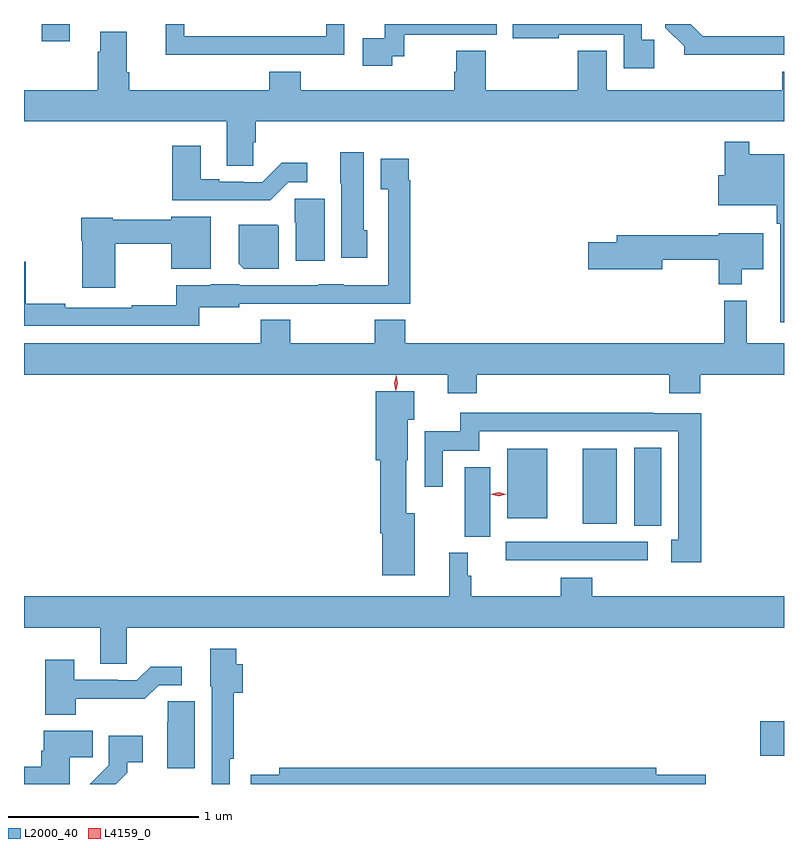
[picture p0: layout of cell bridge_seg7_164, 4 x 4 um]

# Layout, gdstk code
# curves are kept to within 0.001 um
import gdstk
lib = gdstk.Library(unit=1e-6, precision=1e-09)
def R(c, l, rs):  # rectangles x0, y0, x1, y1
    for r in rs: c.add(gdstk.rectangle(r[:2], r[2:], *l))
def P(c, l, *ps):  # polygons
    for p in ps: c.add(gdstk.Polygon(p, *l))
L2000_40 = (2000, 40)
L4159_0 = (4159, 0)

bridge_seg7_164 = lib.new_cell('bridge_seg7_164')
R(bridge_seg7_164, L2000_40, [(402.672,1049.225,402.796,1049.408), (401.331,1050.255,402.079,1050.351), (401.117,1050.379,401.251,1050.745), (402.008,1050.436,402.151,1050.848), (401.738,1050.446,401.917,1050.841), (401.339,1050.476,401.551,1050.841), (398.889,1052.985,399.037,1053.077)])
P(bridge_seg7_164, L2000_40, [(402.704,1052.916),(402.796,1052.916),(402.796,1053.012),(402.369,1053.012),(402.304,1053.077),(402.171,1053.077),(402.171,1053.058),(402.27,1052.959),(402.27,1052.915),(402.704,1052.915)],
  [(400.004,1052.916),(400.482,1052.916),(400.482,1053.077),(400.386,1053.077),(400.386,1053.012),(399.639,1053.012),(399.639,1053.077),(399.542,1053.077),(399.542,1052.915),(400.004,1052.915)],
  [(400.734,1052.907),(400.796,1052.907),(400.796,1053.021),(401.283,1053.021),(401.283,1053.077),(400.695,1053.077),(400.695,1053.003),(400.578,1053.003),(400.578,1052.856),(400.734,1052.856)],
  [(402.113,1052.995),(402.048,1052.995),(402.048,1053.077),(401.368,1053.077),(401.368,1053.002),(401.611,1053.002),(401.611,1053.021),(401.952,1053.021),(401.952,1052.844),(402.113,1052.844)],
  [(400.002,1052.454),(400.016,1052.454),(400.016,1052.564),(402.796,1052.564),(402.796,1052.827),(402.788,1052.827),(402.788,1052.728),(401.863,1052.728),(401.863,1052.936),(401.711,1052.936),(401.711,1052.728),(401.225,1052.728),(401.225,1052.936),(401.072,1052.936),(401.072,1052.826),(401.06,1052.826),(401.06,1052.728),(400.253,1052.728),(400.253,1052.827),(400.088,1052.827),(400.088,1052.728),(399.35,1052.728),(399.35,1052.824),(399.337,1052.824),(399.337,1053.036),(399.197,1053.036),(399.197,1052.93),(399.185,1052.93),(399.185,1052.728),(398.796,1052.728),(398.796,1052.564),(399.863,1052.564),(399.863,1052.332),(400.002,1052.332)],
  [(402.796,1052.392),(402.613,1052.392),(402.613,1052.458),(402.484,1052.458),(402.484,1052.281),(402.45,1052.281),(402.45,1052.123),(402.757,1052.123),(402.757,1052.027),(402.777,1052.027),(402.777,1051.506),(402.796,1051.506)],
  [(400.188,1052.244),(400.288,1052.244),(400.288,1052.347),(400.153,1052.347),(400.05,1052.244),(399.95,1052.244),(399.95,1052.247),(399.823,1052.247),(399.823,1052.26),(399.727,1052.26),(399.727,1052.437),(399.575,1052.437),(399.575,1052.15),(400.093,1052.15)],
  [(400.603,1051.992),(400.585,1051.992),(400.585,1052.401),(400.46,1052.401),(400.46,1052.238),(400.466,1052.238),(400.466,1051.848),(400.603,1051.848)],
  [(399.718,1051.586),(399.93,1051.586),(399.93,1051.605),(400.347,1051.605),(400.347,1051.604),(400.579,1051.604),(400.579,1051.605),(400.829,1051.605),(400.829,1052.255),(400.822,1052.255),(400.822,1052.368),(400.673,1052.368),(400.673,1052.207),(400.713,1052.207),(400.713,1051.702),(400.479,1051.702),(400.479,1051.708),(400.347,1051.708),(400.347,1051.701),(399.93,1051.701),(399.93,1051.708),(399.78,1051.708),(399.78,1051.702),(399.597,1051.702),(399.597,1051.597),(399.364,1051.597),(399.364,1051.584),(399.014,1051.584),(399.014,1051.604),(398.806,1051.604),(398.806,1051.826),(398.796,1051.826),(398.796,1051.488),(399.718,1051.488)],
  [(400.378,1052.157),(400.222,1052.157),(400.222,1052.034),(400.226,1052.034),(400.226,1051.83),(400.378,1051.83)],
  [(399.276,1051.92),(399.572,1051.92),(399.572,1051.79),(399.778,1051.79),(399.778,1052.062),(399.572,1052.062),(399.572,1052.048),(399.264,1052.048),(399.264,1052.056),(399.098,1052.056),(399.098,1051.937),(399.103,1051.937),(399.103,1051.689),(399.276,1051.689)],
  [(400.138,1052.012),(400.13,1052.02),(399.926,1052.02),(399.926,1051.816),(399.952,1051.79),(400.138,1051.79)],
  [(402.574,1051.787),(402.688,1051.787),(402.688,1051.975),(402.452,1051.975),(402.452,1051.964),(401.915,1051.964),(401.915,1051.928),(401.766,1051.928),(401.766,1051.786),(402.154,1051.786),(402.154,1051.836),(402.452,1051.836),(402.452,1051.706),(402.574,1051.706)],
  [(401.18,1051.232),(402.191,1051.232),(402.191,1051.133),(402.356,1051.133),(402.356,1051.232),(402.796,1051.232),(402.796,1051.396),(402.599,1051.396),(402.599,1051.621),(402.481,1051.621),(402.481,1051.396),(400.802,1051.396),(400.802,1051.52),(400.642,1051.52),(400.642,1051.396),(400.197,1051.396),(400.197,1051.52),(400.042,1051.52),(400.042,1051.396),(398.796,1051.396),(398.796,1051.232),(401.027,1051.232),(401.027,1051.133),(401.18,1051.133)],
  [(400.852,1050.502),(400.807,1050.502),(400.807,1050.78),(400.816,1050.78),(400.816,1050.993),(400.851,1050.993),(400.851,1051.144),(400.646,1051.144),(400.646,1050.78),(400.67,1050.78),(400.67,1050.398),(400.682,1050.398),(400.682,1050.176),(400.852,1050.176)],
  [(402.361,1051.029),(402.107,1051.029),(402.107,1051.031),(401.092,1051.031),(401.092,1050.933),(400.906,1050.933),(400.906,1050.642),(401.001,1050.642),(401.001,1050.83),(401.191,1050.83),(401.191,1050.933),(402.239,1050.933),(402.239,1050.363),(402.203,1050.363),(402.203,1050.243),(402.361,1050.243)],
  [(399.336,1049.9),(402.796,1049.9),(402.796,1050.064),(401.786,1050.064),(401.786,1050.163),(401.621,1050.163),(401.621,1050.064),(401.15,1050.064),(401.15,1050.173),(401.132,1050.173),(401.132,1050.294),(401.033,1050.294),(401.033,1050.064),(398.796,1050.064),(398.796,1049.9),(399.197,1049.9),(399.197,1049.71),(399.336,1049.71)],
  [(399.879,1049.209),(399.899,1049.209),(399.899,1049.558),(399.947,1049.558),(399.947,1049.706),(399.912,1049.706),(399.912,1049.788),(399.776,1049.788),(399.776,1049.592),(399.783,1049.592),(399.783,1049.077),(399.879,1049.077)],
  [(399.069,1049.526),(399.431,1049.525),(399.504,1049.598),(399.625,1049.598),(399.625,1049.695),(399.463,1049.695),(399.39,1049.622),(399.29,1049.622),(399.29,1049.625),(399.061,1049.625),(399.061,1049.731),(398.909,1049.731),(398.909,1049.441),(399.069,1049.441)],
  [(399.694,1049.513),(399.552,1049.513),(399.552,1049.402),(399.551,1049.402),(399.551,1049.16),(399.694,1049.16)],
  [(399.037,1049.218),(399.158,1049.218),(399.158,1049.356),(398.9,1049.356),(398.9,1049.252),(398.888,1049.252),(398.888,1049.168),(398.796,1049.168),(398.796,1049.077),(399.037,1049.077)],
  [(399.34,1049.137),(399.34,1049.192),(399.421,1049.192),(399.421,1049.332),(399.243,1049.332),(399.243,1049.177),(399.143,1049.077),(399.28,1049.077)],
  [(402.385,1049.126),(402.124,1049.126),(402.124,1049.162),(400.139,1049.162),(400.139,1049.126),(399.99,1049.126),(399.99,1049.077),(402.385,1049.077)])
P(bridge_seg7_164, L4159_0, [(401.294,1050.592),(401.253,1050.602),(401.253,1050.602),(401.253,1050.602),(401.294,1050.612),(401.334,1050.603),(401.335,1050.603),(401.334,1050.603)],
  [(400.753,1051.147),(400.753,1051.147),(400.744,1051.187),(400.754,1051.228),(400.754,1051.228),(400.754,1051.228),(400.764,1051.187),(400.753,1051.147)])

lib.write_gds('bridge_seg7_164.gds')
